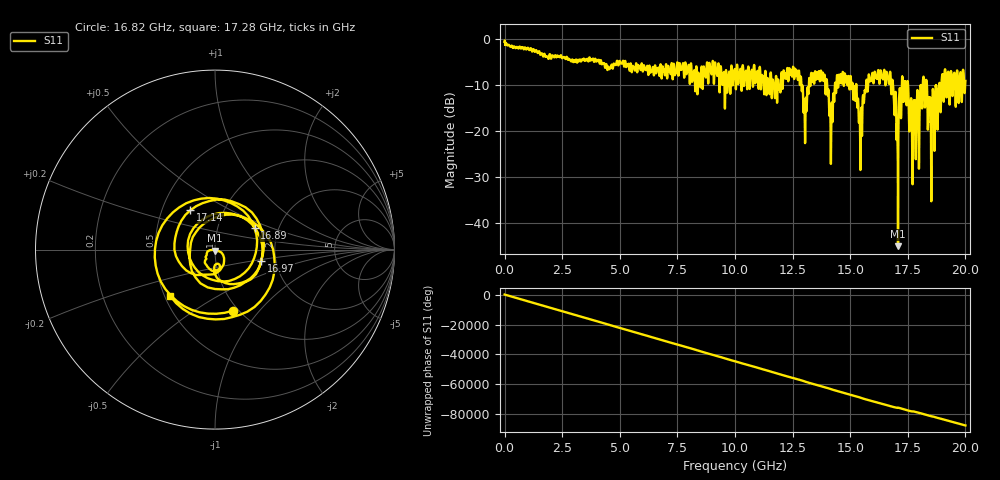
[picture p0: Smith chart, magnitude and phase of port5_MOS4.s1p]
! MS46122B
! 2250307/22442219
! 6/13/2025 3:30:52 PM
! C:\USERS\SPARKY\DOCUMENTS\VNA_DATA\JUNE13_2025\3.2K\PORT5_MOS4.S1P
! CHANNEL.1
! TR.MEASUREMENT
! RAW.DATA
# GHZ S RI R 50.0
! FREQ.GHZ  S11RE  S11IM
!; PortSelection: Port_1
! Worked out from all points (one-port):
!   10001 points, 1 MHz to 20 GHz, reference 50 ohm
!   lowest |S11| = -45.0 dB at 17.08 GHz (marker M1), VSWR 1.01, Z = 50.2 - j0.543 ohm
!   |S11| at or under -10 dB: 15.27 GHz to 15.69 GHz (419.8 MHz wide, 2.71 % of centre); 17.51 GHz to 18.15 GHz (638.8 MHz wide, 3.58 % of centre); 18.33 GHz to 18.86 GHz (529.7 MHz wide, 2.85 % of centre) (the widest 3 of 57)
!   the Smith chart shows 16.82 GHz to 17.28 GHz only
!   S11 on the Smith chart (normalised r, x): 16.82 GHz: 0.94, -0.73; 16.89 GHz: 1.51, +0.38; 16.97 GHz: 1.68, -0.22; 17.14 GHz: 0.70, +0.33; 17.28 GHz: 0.54, -0.32
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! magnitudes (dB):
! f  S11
! 1 MHz  -0.7
! 2.501 GHz  -4.2
! 5.001 GHz  -4.8
! 7.501 GHz  -5.1
! 10 GHz  -6.7
! 11.9 GHz  -10.6
! 12.5 GHz  -6.9
! 12.78 GHz  -7.0
! 13.04 GHz  -22.2
! 13.31 GHz  -7.4
! 13.81 GHz  -7.4
! 14.17 GHz  -25.2
! 14.51 GHz  -8.0
! 15 GHz  -8.7
! 15.44 GHz  -27.0
! 15.88 GHz  -8.8
! 16.82 GHz  -9.0
! 16.89 GHz  -12.0
! 16.97 GHz  -11.5
! 17.08 GHz  -45.0
! 17.14 GHz  -11.7
! 17.28 GHz  -8.9
! 17.5 GHz  -9.3
! 17.78 GHz  -14.5
! 18.24 GHz  -14.1
! 18.58 GHz  -11.4
! 19.06 GHz  -13.5
! 20 GHz  -9.1
